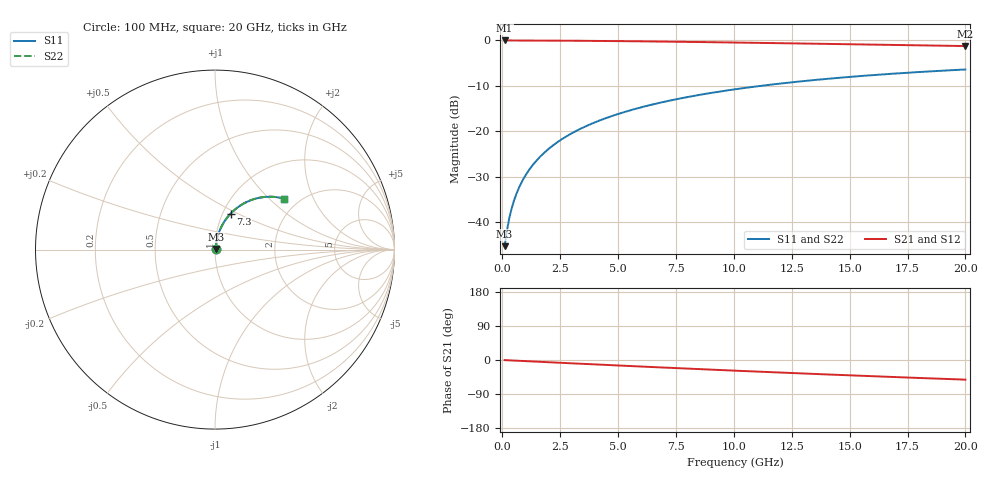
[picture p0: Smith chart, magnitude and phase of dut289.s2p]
! Touchstone file exported from HFSS 2026.1.0
!  File:  C:/ffzhzh/LocalFiles/Ansys_Project_Files/temp_train_TMRDL_289_1782985493_41620.aedt
!  Generated:  05:46:19 PM Jul  2, 2026
!  Design:  TMRDL
!  Project:  temp_train_TMRDL_289_1782985493_41620
! Variables:
!  h_bsmrdl = 2um
!  h_ox = 20um
!  h_rdl = 5um
!  h_sub = 80um
!  h_tmrdl = 4.22um
!  h_tsv = 80um
!  h_via = 3um
!  l_bsmrdl = 300um
!  l_sub = 1182.36um
!  l_tmrdl = 782.36um
!  m_sub = 200um
!  pitch = 42.54um
!  r_tsv = 6um
!  s_tmrdl = 10um
!  w_bsmrdl = 18um
!  w_sub = 500um
!  w_tmrdl = 15.74um
!  x_tsv_center1 = 790.23um
!  x_tsv_center2 = 1108.23um
!  x_tsv_center3 = 1906.33um
!  x_tsv_center4 = 2224.33um
!  x_tsv_center5 = 3022.43um
!  x_tsv_center6 = 3340.43um
# GHz S MA R 50.000000
! Terminal data exported
! Port[1] = TM_RDL1_1_T1
! Port[2] = TM_RDL1_1_T2
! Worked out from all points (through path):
!   200 points, 100 MHz to 20 GHz, reference 50 ohm
!   highest |S21| = -0.04 dB at 100 MHz (marker M1); lowest = -1.3 dB at 20 GHz (marker M2)
!   group delay of S21, straight-line fit = 7.2 ps
!   lowest |S11| = -45.3 dB at 100 MHz (marker M3), VSWR 1.01, Z = 50.4 + j0.343 ohm
!   |S11| at or under -10 dB: start of sweep to 11.19 GHz
!   |S22| runs from -45.3 to -6.4 dB; largest |S21 - S12| = 4.1e-15
!   S11 on the Smith chart (normalised r, x): 100 MHz: 1.01, +0.01; 7.3 GHz: 1.09, +0.46; 20 GHz: 1.68, +1.23
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0.1  0.00546 38.5  0.9957 -0.3  0.9957 -0.3  0.00546 38.5
! Gamma 0 0 0 0
! Port Impedance 50 0 50 0
0.2  0.008074 56.4  0.9956 -0.6  0.9956 -0.6  0.008074 56.4
0.3  0.01103 64.7  0.9954 -0.9  0.9954 -0.9  0.01103 64.7
0.4  0.01406 69.3  0.9952 -1.2  0.9952 -1.2  0.01406 69.3
0.5  0.01713 72.2  0.9951 -1.5  0.9951 -1.5  0.01713 72.2
0.6  0.02021 74.2  0.9949 -1.8  0.9949 -1.8  0.02021 74.2
0.8  0.02642 76.6  0.9946 -2.4  0.9946 -2.4  0.02642 76.6
1.1  0.0358 78.4  0.9942 -3.3  0.9942 -3.3  0.0358 78.4
1.5  0.04835 79.1  0.9934 -4.4  0.9934 -4.4  0.04835 79.1
1.8  0.05776 79.1  0.9927 -5.3  0.9927 -5.3  0.05776 79.1
2.1  0.06714 78.8  0.9919 -6.2  0.9919 -6.2  0.06714 78.9
2.7  0.08578 77.9  0.9901 -7.9  0.9901 -7.9  0.08578 77.9
3.5  0.1103 76.2  0.987 -10.2  0.987 -10.2  0.1103 76.2
4.2  0.1313 74.5  0.9838 -12.2  0.9838 -12.2  0.1313 74.5
5  0.1548 72.4  0.9797 -14.5  0.9797 -14.5  0.1548 72.4
6.8  0.2056 67.8  0.9688 -19.5  0.9688 -19.5  0.2056 67.8
7.3  0.2192 66.5  0.9654 -20.8  0.9654 -20.8  0.2192 66.5
8.6  0.2533 63.1  0.9562 -24.3  0.9562 -24.3  0.2533 63.2
10.1  0.2906 59.3  0.9448 -28.3  0.9448 -28.3  0.2905 59.4
13.4  0.3643 51.3  0.918 -36.6  0.918 -36.6  0.3642 51.3
16.7  0.4265 43.7  0.8905 -44.4  0.8905 -44.4  0.4265 43.7
20  0.4777 36.5  0.8642 -51.8  0.8642 -51.8  0.4776 36.5
